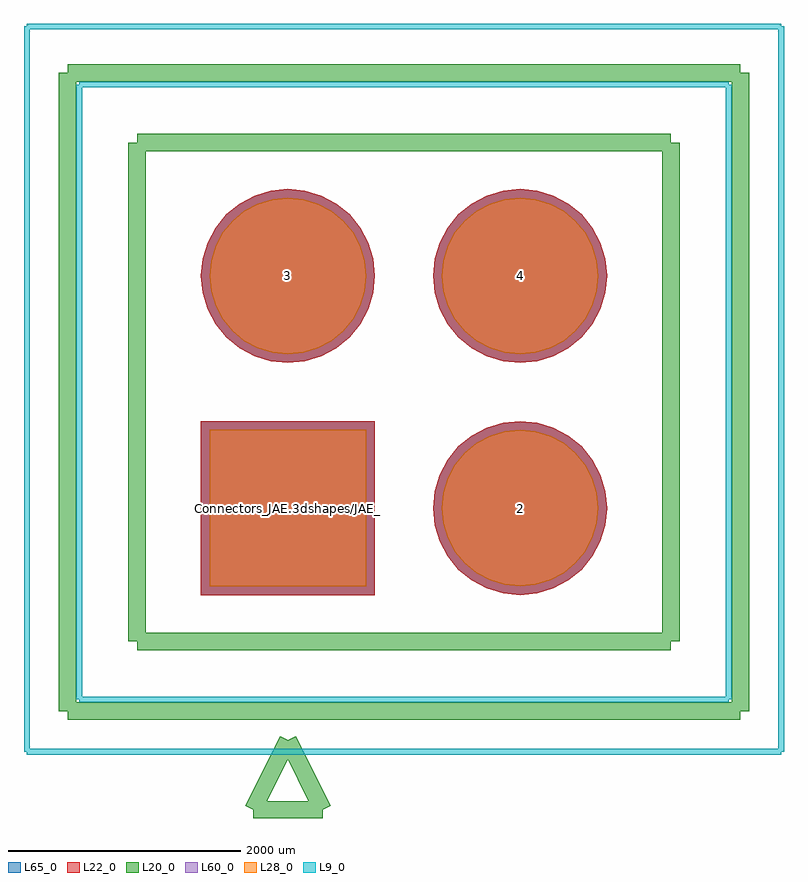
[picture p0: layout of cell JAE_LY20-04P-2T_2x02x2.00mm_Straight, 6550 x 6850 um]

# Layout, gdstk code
import gdstk
lib = gdstk.Library(unit=1e-6, precision=1e-09)
def R(c, l, rs):  # rectangles x0, y0, x1, y1
    for r in rs: c.add(gdstk.rectangle(r[:2], r[2:], *l))
def P(c, l, *ps):  # polygons
    for p in ps: c.add(gdstk.Polygon(p, *l))
L9_0 = (9, 0)
L20_0 = (20, 0)
L22_0 = (22, 0)
L28_0 = (28, 0)
L60_0 = (60, 0)
L65_0 = (65, 0)

jae_ly20_04p_2t_2x02x2_0 = lib.new_cell('JAE_LY20-04P-2T_2x02x2.00mm_Straight')
R(jae_ly20_04p_2t_2x02x2_0, L22_0, [(-750,-750,750,750)])
P(jae_ly20_04p_2t_2x02x2_0, L22_0, [(2750,2000),(2735.589,2146.318),(2692.91,2287.013),(2623.602,2416.678),(2530.33,2530.33),(2416.678,2623.602),(2287.013,2692.91),(2146.318,2735.589),(2000,2750),(1853.682,2735.589),(1712.987,2692.91),(1583.322,2623.602),(1469.67,2530.33),(1376.398,2416.678),(1307.09,2287.013),(1264.411,2146.318),(1250,2000),(1264.411,1853.682),(1307.09,1712.987),(1376.398,1583.322),(1469.67,1469.67),(1583.322,1376.398),(1712.987,1307.09),(1853.682,1264.411),(2000,1250),(2146.318,1264.411),(2287.013,1307.09),(2416.678,1376.398),(2530.33,1469.67),(2623.602,1583.322),(2692.91,1712.987),(2735.589,1853.682)],
  [(750,2000),(735.589,2146.318),(692.91,2287.013),(623.602,2416.678),(530.33,2530.33),(416.678,2623.602),(287.013,2692.91),(146.318,2735.589),(0,2750),(-146.318,2735.589),(-287.013,2692.91),(-416.678,2623.602),(-530.33,2530.33),(-623.602,2416.678),(-692.91,2287.013),(-735.589,2146.318),(-750,2000),(-735.589,1853.682),(-692.91,1712.987),(-623.602,1583.322),(-530.33,1469.67),(-416.678,1376.398),(-287.013,1307.09),(-146.318,1264.411),(0,1250),(146.318,1264.411),(287.013,1307.09),(416.678,1376.398),(530.33,1469.67),(623.602,1583.322),(692.91,1712.987),(735.589,1853.682)],
  [(2750,0),(2735.589,146.318),(2692.91,287.013),(2623.602,416.678),(2530.33,530.33),(2416.678,623.602),(2287.013,692.91),(2146.318,735.589),(2000,750),(1853.682,735.589),(1712.987,692.91),(1583.322,623.602),(1469.67,530.33),(1376.398,416.678),(1307.09,287.013),(1264.411,146.318),(1250,0),(1264.411,-146.318),(1307.09,-287.013),(1376.398,-416.678),(1469.67,-530.33),(1583.322,-623.602),(1712.987,-692.91),(1853.682,-735.589),(2000,-750),(2146.318,-735.589),(2287.013,-692.91),(2416.678,-623.602),(2530.33,-530.33),(2623.602,-416.678),(2692.91,-287.013),(2735.589,-146.318)])
R(jae_ly20_04p_2t_2x02x2_0, L28_0, [(-675,-675,675,675)])
P(jae_ly20_04p_2t_2x02x2_0, L28_0, [(2675,2000),(2662.03,2131.686),(2623.619,2258.311),(2561.242,2375.01),(2477.297,2477.297),(2375.01,2561.242),(2258.311,2623.619),(2131.686,2662.03),(2000,2675),(1868.314,2662.03),(1741.689,2623.619),(1624.99,2561.242),(1522.703,2477.297),(1438.758,2375.01),(1376.381,2258.311),(1337.97,2131.686),(1325,2000),(1337.97,1868.314),(1376.381,1741.689),(1438.758,1624.99),(1522.703,1522.703),(1624.99,1438.758),(1741.689,1376.381),(1868.314,1337.97),(2000,1325),(2131.686,1337.97),(2258.311,1376.381),(2375.01,1438.758),(2477.297,1522.703),(2561.242,1624.99),(2623.619,1741.689),(2662.03,1868.314)],
  [(675,2000),(662.03,2131.686),(623.619,2258.311),(561.242,2375.01),(477.297,2477.297),(375.01,2561.242),(258.311,2623.619),(131.686,2662.03),(0,2675),(-131.686,2662.03),(-258.311,2623.619),(-375.01,2561.242),(-477.297,2477.297),(-561.242,2375.01),(-623.619,2258.311),(-662.03,2131.686),(-675,2000),(-662.03,1868.314),(-623.619,1741.689),(-561.242,1624.99),(-477.297,1522.703),(-375.01,1438.758),(-258.311,1376.381),(-131.686,1337.97),(0,1325),(131.686,1337.97),(258.311,1376.381),(375.01,1438.758),(477.297,1522.703),(561.242,1624.99),(623.619,1741.689),(662.03,1868.314)],
  [(2675,0),(2662.03,131.686),(2623.619,258.311),(2561.242,375.01),(2477.297,477.297),(2375.01,561.242),(2258.311,623.619),(2131.686,662.03),(2000,675),(1868.314,662.03),(1741.689,623.619),(1624.99,561.242),(1522.703,477.297),(1438.758,375.01),(1376.381,258.311),(1337.97,131.686),(1325,0),(1337.97,-131.686),(1376.381,-258.311),(1438.758,-375.01),(1522.703,-477.297),(1624.99,-561.242),(1741.689,-623.619),(1868.314,-662.03),(2000,-675),(2131.686,-662.03),(2258.311,-623.619),(2375.01,-561.242),(2477.297,-477.297),(2561.242,-375.01),(2623.619,-258.311),(2662.03,-131.686)])
R(jae_ly20_04p_2t_2x02x2_0, L60_0, [(-675,-675,675,675)])
P(jae_ly20_04p_2t_2x02x2_0, L60_0, [(2675,2000),(2662.03,2131.686),(2623.619,2258.311),(2561.242,2375.01),(2477.297,2477.297),(2375.01,2561.242),(2258.311,2623.619),(2131.686,2662.03),(2000,2675),(1868.314,2662.03),(1741.689,2623.619),(1624.99,2561.242),(1522.703,2477.297),(1438.758,2375.01),(1376.381,2258.311),(1337.97,2131.686),(1325,2000),(1337.97,1868.314),(1376.381,1741.689),(1438.758,1624.99),(1522.703,1522.703),(1624.99,1438.758),(1741.689,1376.381),(1868.314,1337.97),(2000,1325),(2131.686,1337.97),(2258.311,1376.381),(2375.01,1438.758),(2477.297,1522.703),(2561.242,1624.99),(2623.619,1741.689),(2662.03,1868.314)],
  [(675,2000),(662.03,2131.686),(623.619,2258.311),(561.242,2375.01),(477.297,2477.297),(375.01,2561.242),(258.311,2623.619),(131.686,2662.03),(0,2675),(-131.686,2662.03),(-258.311,2623.619),(-375.01,2561.242),(-477.297,2477.297),(-561.242,2375.01),(-623.619,2258.311),(-662.03,2131.686),(-675,2000),(-662.03,1868.314),(-623.619,1741.689),(-561.242,1624.99),(-477.297,1522.703),(-375.01,1438.758),(-258.311,1376.381),(-131.686,1337.97),(0,1325),(131.686,1337.97),(258.311,1376.381),(375.01,1438.758),(477.297,1522.703),(561.242,1624.99),(623.619,1741.689),(662.03,1868.314)],
  [(2675,0),(2662.03,131.686),(2623.619,258.311),(2561.242,375.01),(2477.297,477.297),(2375.01,561.242),(2258.311,623.619),(2131.686,662.03),(2000,675),(1868.314,662.03),(1741.689,623.619),(1624.99,561.242),(1522.703,477.297),(1438.758,375.01),(1376.381,258.311),(1337.97,131.686),(1325,0),(1337.97,-131.686),(1376.381,-258.311),(1438.758,-375.01),(1522.703,-477.297),(1624.99,-561.242),(1741.689,-623.619),(1868.314,-662.03),(2000,-675),(2131.686,-662.03),(2258.311,-623.619),(2375.01,-561.242),(2477.297,-477.297),(2561.242,-375.01),(2623.619,-258.311),(2662.03,-131.686)])
R(jae_ly20_04p_2t_2x02x2_0, L65_0, [(-750,-750,750,750)])
P(jae_ly20_04p_2t_2x02x2_0, L65_0, [(2750,2000),(2735.589,2146.318),(2692.91,2287.013),(2623.602,2416.678),(2530.33,2530.33),(2416.678,2623.602),(2287.013,2692.91),(2146.318,2735.589),(2000,2750),(1853.682,2735.589),(1712.987,2692.91),(1583.322,2623.602),(1469.67,2530.33),(1376.398,2416.678),(1307.09,2287.013),(1264.411,2146.318),(1250,2000),(1264.411,1853.682),(1307.09,1712.987),(1376.398,1583.322),(1469.67,1469.67),(1583.322,1376.398),(1712.987,1307.09),(1853.682,1264.411),(2000,1250),(2146.318,1264.411),(2287.013,1307.09),(2416.678,1376.398),(2530.33,1469.67),(2623.602,1583.322),(2692.91,1712.987),(2735.589,1853.682)],
  [(750,2000),(735.589,2146.318),(692.91,2287.013),(623.602,2416.678),(530.33,2530.33),(416.678,2623.602),(287.013,2692.91),(146.318,2735.589),(0,2750),(-146.318,2735.589),(-287.013,2692.91),(-416.678,2623.602),(-530.33,2530.33),(-623.602,2416.678),(-692.91,2287.013),(-735.589,2146.318),(-750,2000),(-735.589,1853.682),(-692.91,1712.987),(-623.602,1583.322),(-530.33,1469.67),(-416.678,1376.398),(-287.013,1307.09),(-146.318,1264.411),(0,1250),(146.318,1264.411),(287.013,1307.09),(416.678,1376.398),(530.33,1469.67),(623.602,1583.322),(692.91,1712.987),(735.589,1853.682)],
  [(2750,0),(2735.589,146.318),(2692.91,287.013),(2623.602,416.678),(2530.33,530.33),(2416.678,623.602),(2287.013,692.91),(2146.318,735.589),(2000,750),(1853.682,735.589),(1712.987,692.91),(1583.322,623.602),(1469.67,530.33),(1376.398,416.678),(1307.09,287.013),(1264.411,146.318),(1250,0),(1264.411,-146.318),(1307.09,-287.013),(1376.398,-416.678),(1469.67,-530.33),(1583.322,-623.602),(1712.987,-692.91),(1853.682,-735.589),(2000,-750),(2146.318,-735.589),(2287.013,-692.91),(2416.678,-623.602),(2530.33,-530.33),(2623.602,-416.678),(2692.91,-287.013),(2735.589,-146.318)])
jae_ly20_04p_2t_2x02x2_0.add(gdstk.FlexPath([(300,-2600),(0,-2000)], 149.998, ends="flush", simple_path=True, layer=20, datatype=0))  # L20_0
jae_ly20_04p_2t_2x02x2_0.add(gdstk.FlexPath([(-300,-2600),(300,-2600)], 149.998, ends="flush", simple_path=True, layer=20, datatype=0))  # L20_0
jae_ly20_04p_2t_2x02x2_0.add(gdstk.FlexPath([(0,-2000),(-300,-2600)], 149.998, ends="flush", simple_path=True, layer=20, datatype=0))  # L20_0
jae_ly20_04p_2t_2x02x2_0.add(gdstk.FlexPath([(3300,3150),(-1300,3150)], 149.998, ends="flush", simple_path=True, layer=20, datatype=0))  # L20_0
jae_ly20_04p_2t_2x02x2_0.add(gdstk.FlexPath([(3300,-1150),(3300,3150)], 149.998, ends="flush", simple_path=True, layer=20, datatype=0))  # L20_0
jae_ly20_04p_2t_2x02x2_0.add(gdstk.FlexPath([(-1300,-1150),(3300,-1150)], 149.998, ends="flush", simple_path=True, layer=20, datatype=0))  # L20_0
jae_ly20_04p_2t_2x02x2_0.add(gdstk.FlexPath([(-1300,3150),(-1300,-1150)], 149.998, ends="flush", simple_path=True, layer=20, datatype=0))  # L20_0
jae_ly20_04p_2t_2x02x2_0.add(gdstk.FlexPath([(3900,3750),(-1900,3750)], 149.998, ends="flush", simple_path=True, layer=20, datatype=0))  # L20_0
jae_ly20_04p_2t_2x02x2_0.add(gdstk.FlexPath([(3900,-1750),(3900,3750)], 149.998, ends="flush", simple_path=True, layer=20, datatype=0))  # L20_0
jae_ly20_04p_2t_2x02x2_0.add(gdstk.FlexPath([(-1900,-1750),(3900,-1750)], 149.998, ends="flush", simple_path=True, layer=20, datatype=0))  # L20_0
jae_ly20_04p_2t_2x02x2_0.add(gdstk.FlexPath([(-1900,3750),(-1900,-1750)], 149.998, ends="flush", simple_path=True, layer=20, datatype=0))  # L20_0
jae_ly20_04p_2t_2x02x2_0.add(gdstk.FlexPath([(4250,4150),(-2250,4150)], 50, ends="flush", simple_path=True, layer=9, datatype=0))  # L9_0
jae_ly20_04p_2t_2x02x2_0.add(gdstk.FlexPath([(4250,-2100),(4250,4150)], 50, ends="flush", simple_path=True, layer=9, datatype=0))  # L9_0
jae_ly20_04p_2t_2x02x2_0.add(gdstk.FlexPath([(-2250,-2100),(4250,-2100)], 50, ends="flush", simple_path=True, layer=9, datatype=0))  # L9_0
jae_ly20_04p_2t_2x02x2_0.add(gdstk.FlexPath([(-2250,4150),(-2250,-2100)], 50, ends="flush", simple_path=True, layer=9, datatype=0))  # L9_0
jae_ly20_04p_2t_2x02x2_0.add(gdstk.FlexPath([(3800,3650),(-1800,3650)], 50, ends="flush", simple_path=True, layer=9, datatype=0))  # L9_0
jae_ly20_04p_2t_2x02x2_0.add(gdstk.FlexPath([(3800,-1650),(3800,3650)], 50, ends="flush", simple_path=True, layer=9, datatype=0))  # L9_0
jae_ly20_04p_2t_2x02x2_0.add(gdstk.FlexPath([(-1800,-1650),(3800,-1650)], 50, ends="flush", simple_path=True, layer=9, datatype=0))  # L9_0
jae_ly20_04p_2t_2x02x2_0.add(gdstk.FlexPath([(-1800,3650),(-1800,-1650)], 50, ends="flush", simple_path=True, layer=9, datatype=0))  # L9_0
jae_ly20_04p_2t_2x02x2_0.add(gdstk.Label('Connectors_JAE.3dshapes/JAE_LY20-04P-2T_2x02x2.00mm_Straight.wrl', (0,0), layer=12, texttype=0))
jae_ly20_04p_2t_2x02x2_0.add(gdstk.Label('4', (2000,2000), layer=28, texttype=0))
jae_ly20_04p_2t_2x02x2_0.add(gdstk.Label('3', (0,2000), layer=28, texttype=0))
jae_ly20_04p_2t_2x02x2_0.add(gdstk.Label('2', (2000,0), layer=28, texttype=0))
jae_ly20_04p_2t_2x02x2_0.add(gdstk.Label('1', (0,0), layer=28, texttype=0))
jae_ly20_04p_2t_2x02x2_0.add(gdstk.Label('type', (1000,-3500), layer=9, texttype=0))
jae_ly20_04p_2t_2x02x2_0.add(gdstk.Label('devicename', (1000,5000), layer=9, texttype=0))

lib.write_gds('JAE_LY20-04P-2T_2x02x2.00mm_Straight.gds')
